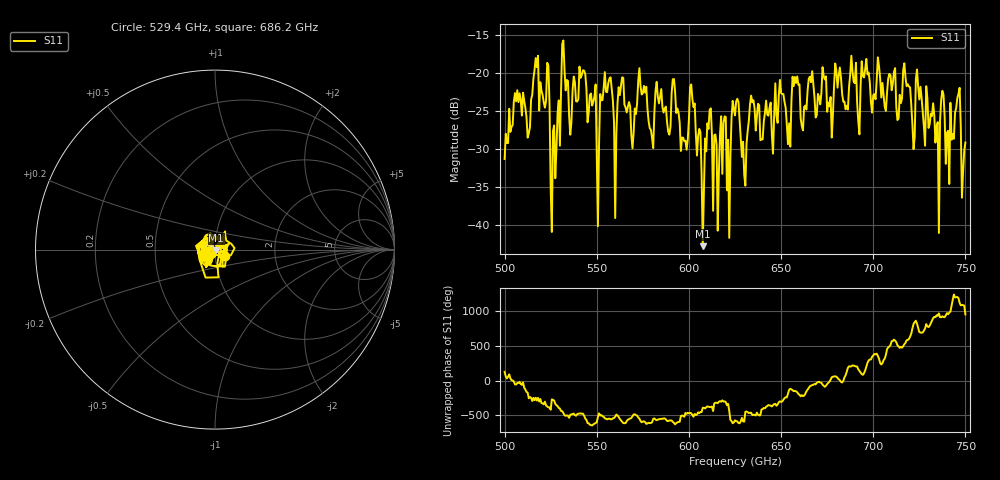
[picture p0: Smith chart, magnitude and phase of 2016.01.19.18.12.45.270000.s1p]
!Created with skrf (http://scikit-rf.org).
# GHz S RI R 50.0
!freq ReS11 ImS11
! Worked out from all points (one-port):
!   401 points, 500 GHz to 750 GHz, reference 50 ohm
!   lowest |S11| = -42.8 dB at 607.5 GHz (marker M1), VSWR 1.01, Z = 50.6 - j0.428 ohm
!   |S11| at or under -10 dB: start of sweep to end of sweep
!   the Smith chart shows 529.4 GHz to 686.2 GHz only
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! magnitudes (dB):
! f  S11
! 500 GHz  -31.3
! 506.9 GHz  -22.2
! 513.1 GHz  -27.9
! 516.9 GHz  -18.0
! 523.1 GHz  -18.6
! 526.2 GHz  -27.6
! 531.2 GHz  -16.2
! 543.1 GHz  -19.6
! 551.2 GHz  -29.1
! 553.1 GHz  -23.5
! 560 GHz  -39.0
! 562.5 GHz  -22.9
! 593.8 GHz  -24.6
! 598.1 GHz  -28.9
! 601.9 GHz  -23.4
! 607.5 GHz  -42.8
! 611.2 GHz  -24.8
! 614.4 GHz  -28.1
! 621.9 GHz  -41.7
! 625 GHz  -25.5
! 630 GHz  -33.4
! 634.4 GHz  -23.8
! 656.2 GHz  -20.4
! 687.5 GHz  -20.2
! 718.8 GHz  -21.4
! 735 GHz  -26.4
! 745.6 GHz  -23.3
! 750 GHz  -29.1
